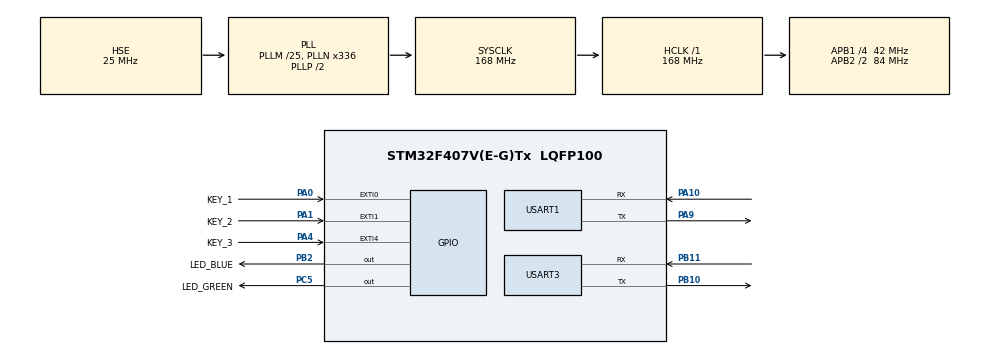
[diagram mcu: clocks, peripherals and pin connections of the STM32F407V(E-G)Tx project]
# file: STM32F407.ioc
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Dma.Request0=USART1_RX
Dma.Request1=USART1_TX
Dma.Request2=USART3_RX
Dma.Request3=USART3_TX
Dma.USART1_RX.0.Direction=DMA_PERIPH_TO_MEMORY
Dma.USART1_RX.0.FIFOMode=DMA_FIFOMODE_DISABLE
Dma.USART1_RX.0.Instance=DMA2_Stream2
Dma.USART1_RX.0.MemDataAlignment=DMA_MDATAALIGN_BYTE
Dma.USART1_RX.0.MemInc=DMA_MINC_ENABLE
Dma.USART1_RX.0.Mode=DMA_NORMAL
Dma.USART1_RX.0.PeriphDataAlignment=DMA_PDATAALIGN_BYTE
Dma.USART1_RX.0.PeriphInc=DMA_PINC_DISABLE
Dma.USART1_RX.0.Priority=DMA_PRIORITY_LOW
Dma.USART1_TX.1.Direction=DMA_MEMORY_TO_PERIPH
Dma.USART1_TX.1.FIFOMode=DMA_FIFOMODE_DISABLE
Dma.USART1_TX.1.Instance=DMA2_Stream7
Dma.USART1_TX.1.MemDataAlignment=DMA_MDATAALIGN_BYTE
Dma.USART1_TX.1.MemInc=DMA_MINC_ENABLE
Dma.USART1_TX.1.Mode=DMA_NORMAL
Dma.USART1_TX.1.PeriphDataAlignment=DMA_PDATAALIGN_BYTE
Dma.USART1_TX.1.PeriphInc=DMA_PINC_DISABLE
Dma.USART1_TX.1.Priority=DMA_PRIORITY_LOW
Dma.USART3_RX.2.Direction=DMA_PERIPH_TO_MEMORY
Dma.USART3_RX.2.FIFOMode=DMA_FIFOMODE_DISABLE
Dma.USART3_RX.2.Instance=DMA1_Stream1
Dma.USART3_RX.2.MemDataAlignment=DMA_MDATAALIGN_BYTE
Dma.USART3_RX.2.MemInc=DMA_MINC_ENABLE
Dma.USART3_RX.2.Mode=DMA_NORMAL
Dma.USART3_RX.2.PeriphDataAlignment=DMA_PDATAALIGN_BYTE
Dma.USART3_RX.2.PeriphInc=DMA_PINC_DISABLE
Dma.USART3_RX.2.Priority=DMA_PRIORITY_LOW
Dma.USART3_TX.3.Direction=DMA_MEMORY_TO_PERIPH
Dma.USART3_TX.3.FIFOMode=DMA_FIFOMODE_DISABLE
Dma.USART3_TX.3.Instance=DMA1_Stream3
Dma.USART3_TX.3.MemDataAlignment=DMA_MDATAALIGN_BYTE
Dma.USART3_TX.3.MemInc=DMA_MINC_ENABLE
Dma.USART3_TX.3.Mode=DMA_NORMAL
Dma.USART3_TX.3.PeriphDataAlignment=DMA_PDATAALIGN_BYTE
Dma.USART3_TX.3.PeriphInc=DMA_PINC_DISABLE
Dma.USART3_TX.3.Priority=DMA_PRIORITY_LOW
Mcu.Family=STM32F4
Mcu.Name=STM32F407V(E-G)Tx
Mcu.Package=LQFP100
NVIC.DMA1_Stream1_IRQn=true\:0\:0\:false\:false\:true\:false\:true\:true
NVIC.DMA1_Stream3_IRQn=true\:0\:0\:false\:false\:true\:false\:true\:true
NVIC.DMA2_Stream2_IRQn=true\:0\:0\:false\:false\:true\:false\:true\:true
NVIC.DMA2_Stream7_IRQn=true\:0\:0\:false\:false\:true\:false\:true\:true
NVIC.EXTI0_IRQn=true\:0\:0\:false\:false\:true\:true\:true\:true
NVIC.EXTI1_IRQn=true\:0\:0\:false\:false\:true\:true\:true\:true
NVIC.EXTI4_IRQn=true\:0\:0\:false\:false\:true\:true\:true\:true
NVIC.PriorityGroup=NVIC_PRIORITYGROUP_4
NVIC.USART1_IRQn=true\:0\:0\:false\:false\:true\:true\:true\:true
NVIC.USART3_IRQn=true\:0\:0\:false\:false\:true\:true\:true\:true
PA0-WKUP.GPIO_Label=KEY_1
PA0-WKUP.GPIO_ModeDefaultEXTI=GPIO_MODE_IT_RISING
PA0-WKUP.GPIO_PuPd=GPIO_PULLDOWN
PA0-WKUP.Signal=GPXTI0
PA1.GPIO_Label=KEY_2
PA1.GPIO_ModeDefaultEXTI=GPIO_MODE_IT_FALLING
PA1.GPIO_PuPd=GPIO_PULLUP
PA1.Signal=GPXTI1
PA10.Mode=Asynchronous
PA10.Signal=USART1_RX
PA13.Mode=Serial_Wire
PA13.Signal=SYS_JTMS-SWDIO
PA14.Mode=Serial_Wire
PA14.Signal=SYS_JTCK-SWCLK
PA4.GPIO_Label=KEY_3
PA4.GPIO_ModeDefaultEXTI=GPIO_MODE_IT_FALLING
PA4.GPIO_PuPd=GPIO_PULLUP
PA4.Signal=GPXTI4
PA9.Mode=Asynchronous
PA9.Signal=USART1_TX
PB10.Mode=Asynchronous
PB10.Signal=USART3_TX
PB11.GPIO_PuPd=GPIO_PULLUP
PB11.Mode=Asynchronous
PB11.Signal=USART3_RX
PB2.GPIO_Label=LED_BLUE
PB2.Signal=GPIO_Output
PC5.GPIO_Label=LED_GREEN
PC5.Signal=GPIO_Output
PH0-OSC_IN.Mode=HSE-External-Oscillator
PH0-OSC_IN.Signal=RCC_OSC_IN
PH1-OSC_OUT.Mode=HSE-External-Oscillator
PH1-OSC_OUT.Signal=RCC_OSC_OUT
ProjectManager.HeapSize=0x200
ProjectManager.StackSize=0x1000
ProjectManager.TargetToolchain=MDK-ARM V5.32
RCC.48MHZClocksFreq_Value=84000000
RCC.AHBFreq_Value=168000000
RCC.APB1CLKDivider=RCC_HCLK_DIV4
RCC.APB1Freq_Value=42000000
RCC.APB1TimFreq_Value=84000000
RCC.APB2CLKDivider=RCC_HCLK_DIV2
RCC.APB2Freq_Value=84000000
RCC.APB2TimFreq_Value=168000000
RCC.CortexFreq_Value=168000000
RCC.HCLKFreq_Value=168000000
RCC.HSE_VALUE=25000000
RCC.HSI_VALUE=16000000
RCC.LSE_VALUE=32768
RCC.PLLM=25
RCC.PLLN=336
RCC.PLLSourceVirtual=RCC_PLLSOURCE_HSE
RCC.SYSCLKFreq_VALUE=168000000
RCC.SYSCLKSource=RCC_SYSCLKSOURCE_PLLCLK
RCC.VCOOutputFreq_Value=336000000
USART1.VirtualMode=VM_ASYNC
USART3.VirtualMode=VM_ASYNC
board=custom

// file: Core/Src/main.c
/* USER CODE BEGIN Header */
/**==================================================================================================================
 ** 【文件名称】  main.c
 ** 【功能测试】  RS485 通信（UART3 + DMA + 空闲中断）
 **==================================================================================================================
 ** 【实验平台】  STM32F407 + KEIL5.31 + HAL库
 **
 ** 【实验操作】  1. 接线
 **                  RS485 电路位于开发板右上角，通过跳线帽直接连接 UART3 (也可以使用杜邦，选择其它串口)
 **                  TX —— PB10
 **                  RX —— PB11
 **
 **               2. 代码
 **                  本示例，其实是直接复制了串口3的实验代码，稍作修改注释而已
 **                  通过CubeMX，配置UART3, 115200-None-8-1, DMA发送，DMA+空闲中断接收
 **                  已写好了收发机制，发送时，只需调用HAL的函数; 接收时，只需在while中判断xUART3.ReceiveNum>0,
 **                  详细的收发，可参考main函数内示范。
 **                  特别地，如果想修改波特率，需回到CubeMX中修改UART3的协议配置，而不建议在代码中修改;
 **
 **               3. 测试
 **                  串口助手发送数据 → STM32 接收 → 转发至 RS485
 **                  RS485 收到数据 → 回传至串口助手显示
 **
 ** 【核心说明】  1. 基于 UART3 实现 RS485 全双工通信
 **               2. 采用 DMA + 空闲中断，接收高效、不丢包、不占用 CPU
 **               3. 支持 ASCII / 十六进制数据收发
 **               4. 提供三种发送方式：阻塞 / 中断 / DMA（推荐 DMA）
 **               5. 已实现 printf 打印调试，无需勾选 MicroLIB
 **
 ** 【划 重 点】  1. 波特率修改建议在 CubeMX 中配置
 **               2. 连续发送需判断串口状态，避免覆盖
 **               3. 接收完成后自动存入结构体，主循环直接判断即可
 **
 ** 【更新记录】  2026-03-27  规范注释、优化排版、统一格式
 **
 ** 【备注说明】  版权归魔女科技所有，请勿商用，谢谢！
 **               https://demoboard.taobao.com
 **==================================================================================================================*/
/* USER CODE END Header */
#include "main.h"
#include "dma.h"
#include "usart.h"
#include "gpio.h"

/* USER CODE BEGIN Includes */
/* 所有用户代码，必须写在配对的BEGIN与END注释行之间，否则重新生成时会被删除 */
#include <stdio.h>              // 用于sprintf函数
#include <string.h>

/* USER CODE END Includes */

void SystemClock_Config(void);

/* USER CODE BEGIN 0 */
/* 所有用户代码，必须写在配对的BEGIN与END注释行之间，否则重新生成时会被删除 */

// 定义串口的结构体; 为了方便使用，一次过全定义了
xUATR_TypeDef xUART1 = {0};          // 定义结构体，用于UART1。也可以不用结构体，用单独的变量
xUATR_TypeDef xUART2 = {0};          // 定义结构体，用于UART2。也可以不用结构体，用单独的变量
xUATR_TypeDef xUART3 = {0};          // 定义结构体，用于UART3。也可以不用结构体，用单独的变量
xUATR_TypeDef xUART4 = {0};          // 定义结构体，用于UART4。也可以不用结构体，用单独的变量
xUATR_TypeDef xUART5 = {0};          // 定义结构体，用于UART5。也可以不用结构体，用单独的变量
xUATR_TypeDef xUART6 = {0};          // 定义结构体，用于UART6。也可以不用结构体，用单独的变量

/* USER CODE END 0 */

int main(void)
{
    /* USER CODE BEGIN 1 */

    /* 说明：
     * 1. 不要删除CubeMX生成的注释行（形如 USER CODE BEGIN/END），这些注释用于代码重新生成时的定位
     * 2. 所有用户自定义代码必须写在对应的BEGIN与END注释行之间，否则重新生成时会被覆盖
     * 3. 主要初始化函数说明：
     *    - HAL_Init()            初始化HAL库，配置中断优先级、系统时基等
     *    - SystemClock_Config()  配置系统时钟
     *    - MX_GPIO_Init()        初始化GPIO引脚（仅包含推挽输出、中断触发等配置）
     *    - 外设功能引脚（如UART、SPI等）的初始化在各自的功能文件中
     */

    /* USER CODE END 1 */

    /* MCU Configuration--------------------------------------------------------*/

    /* Reset of all peripherals, Initializes the Flash interface and the Systick. */
    HAL_Init();

    /* Configure the system clock */
    SystemClock_Config();

    /* Initialize all configured peripherals */
    MX_GPIO_Init();
    MX_DMA_Init();
    MX_USART1_UART_Init();
    MX_USART3_UART_Init();
    /* USER CODE BEGIN 2 */
    /* 所有用户代码，必须写在配对的BEGIN与END注释行之间，否则重新生成时会被删除 */

    // 示范使用printf输出调试信息
    printf("\r\r\r===========  STM32F407VE 外设初始报告 ===========\r");                // 使用printf发送调试信息。它有灵活的格式化，很适合处理字符串; 注意：printf需要重定向fputc函数才能使用，否则程序会卡死; 本示例已重写fputc, 在main.c的底部附近
    printf("系统运行时钟：%d MHz\r", SystemCoreClock / 1000000);                        // 输出系统运行时钟频率，以检查系统时钟是否配置正常。注意：F407系列常用系统时钟=168MHz。

    // LED控制-红色LED使用了PC5，置高电平-灭，置低电平-亮
    HAL_GPIO_WritePin(GPIOC, GPIO_PIN_5, GPIO_PIN_SET);                                 // 引脚置高电平，红亮灭

    // 开启USART1的接收：DMA+空闲中断
    HAL_UARTEx_ReceiveToIdle_DMA(&huart1, xUART1.BuffTemp, sizeof(xUART1.BuffTemp));    // 开启DMA+空闲中断接收; 配合回调函数使用(在main.c的最下方：HAL_UARTEx_RxEventCallback());
    // 开启USART3的接收：DMA+空闲中断
    HAL_UARTEx_ReceiveToIdle_DMA(&huart3, xUART3.BuffTemp, sizeof(xUART3.BuffTemp));    // 开启DMA+空闲中断接收; 配合回调函数使用(在main.c的最下方：HAL_UARTEx_RxEventCallback());

    /** USART的3个发送函数，以USART1作示范，其它串口，是一样的方式 **/
    static char     strTem[100] = "串口发送函数测试。\r";                               // 定义一个数组，也可以是其它的数据，如结构体等
    // 发送方式1：阻塞发送，不建议使用。
    HAL_UART_Transmit(&huart1, (uint8_t *)strTem, strlen(strTem), 0xFFFF);              // 发送方式1, 不推荐使用; 阻塞式发送，当调用后，程序会一直死等，不干其它事了(中断除外)，直到发送完毕
    // 发送方式2: 利用中断发送，推荐使用
    while ((&huart1)->gState != HAL_UART_STATE_READY);                                  // 等待上条发送结束; 也可以用HAL_Delay延时法，但就要计算发送用时; 两种方法都是死等法，程序暂时卡死不会往下运行; 如果两次发送间隔时间大，如，大于100ms, 就不用判断语句了。
    HAL_UART_Transmit_IT(&huart1, (uint8_t *)strTem, strlen(strTem));                   // 发送方式2, 推荐使用; 利用中断发送，非阻塞式，大大减少资源占用; 注意：当上次的调用还没完成发送，下次的调用会直接返回(放弃)，所以，要想连接发送，两行调用间，要么判断串口结构体gState的值，要么调用延时HAL_Delay(ms), ms值要大于前一帧发送用时, 用时计算：1/(波特率*11*前一帧字节数)
    // 发送方式4: 利用DMA发送，最推荐使用
    while ((&huart1)->gState != HAL_UART_STATE_READY);                                  // 等待上条发送结束; 也可以用HAL_Delay延时法，但就要计算发送用时; 两种方法都是死等法，程序暂时卡死不会往下运行; 如果两次发送间隔时间大，如，大于100ms, 就不用判断语句了。
    HAL_UART_Transmit_DMA(&huart1, (uint8_t *)strTem, strlen(strTem));                  // 发送方式3，推荐使用; 利用DMA发送，非阻塞式，最大限度减少资源占用; 注意：当上次的调用还没完成发送，下次的调用会直接返回(放弃); 所以，要想连接发送，两行调用间，要么判断串口结构体gState的值，要么调用延时HAL_Delay(ms), ms值要大于前一帧发送用时，用时计算：1/(波特率*11*前一帧字节数)

    /* USER CODE END 2 */

    /* Infinite loop */
    while (1)
    {

        /* USER CODE BEGIN 3 */
        /* 所有用户代码，必须写在配对的BEGIN与END注释行之间，否则重新生成时会被删除 */

        HAL_Delay(1 - 1);                                                               // 延时函数，参数：ms; 注意：CubeMX生成的HAL_Delay(), 函数内部为避免无效操作，会对传入参数+1，因此，如果只需要几ms延时建议传入参数时-1，如果需要大几百ms的非精准延时，那参数不-1也影响不大

        /** USART1 的接收示范(通过串口助手) **/
        if (xUART1.ReceiveNum)
        {
            printf("\r>>>>> 将向串口3发送下面一帧数据 \r");                             // 提示发送, 即把串口助手发过来的数据(UART1接收到的), 发送到其它串口
            printf("字节数：%d \r", xUART1.ReceiveNum);                                 // 显示字节数
            printf("ASCII : %s\r", (char *)xUART1.ReceiveData);                         // 显示数据，以ASCII方式显示，即以字符串的方式显示
            printf("16进制: ");                                                         // 显示数据，以16进制方式，显示每一个字节的值
            for (uint16_t i = 0; i < xUART1.ReceiveNum; i++)                            // 逐个字节输出
                printf("0x%X ", xUART1.ReceiveData[i]);                                 // 以16进制显示
            printf("\r\r");                                                             // 显示换行

            while ((&huart3)->gState != HAL_UART_STATE_READY);                          // 等待上条发送结束; 也可以用HAL_Delay延时法，但就要计算发送用时; 两种方法都是死等法，程序暂时卡死不会往下运行; 如果两次发送间隔时间大，如，大于100ms, 就不用判断语句了。
            HAL_UART_Transmit_DMA(&huart3, xUART1.ReceiveData, xUART1.ReceiveNum);      // 把串口1接收到的数据(串口助手发过来的), 通过串口3发送到RS485总线

            xUART1.ReceiveNum = 0;                                                      // 清0接收标记
        }

        /** RS485通过 UART3 的接收示范 **/
        if (xUART3.ReceiveNum)
        {
            printf("\r<<<<< RS485(UART3) 接收到一帧数据 \r");                           // 提示
            printf("字节数：%d \r", xUART3.ReceiveNum);                                 // 显示字节数
            printf("ASCII : %s\r", (char *)xUART3.ReceiveData);                         // 显示数据，以ASCII方式显示，即以字符串的方式显示
            printf("16进制: ");                                                         // 显示数据，以16进制方式，显示每一个字节的值
            for (uint16_t i = 0; i < xUART3.ReceiveNum; i++)                            // 逐个字节输出
                printf("0x%X ", xUART3.ReceiveData[i]);                                 // 以16进制显示
            printf("\r\r");                                                             // 显示换行

            xUART3.ReceiveNum = 0;                                                      // 清0接收标记

            if (strstr((char *)xUART3.ReceiveData, "RS485_Test"))                       // 判断是否测试工具发过来的数据
            {
                while ((&huart3)->gState != HAL_UART_STATE_READY);                      // 等待上条发送结束; 也可以用HAL_Delay延时法，但就要计算发送用时; 两种方法都是死等法，程序暂时卡死不会往下运行; 如果两次发送间隔时间大，如，大于100ms, 就不用判断语句了。
                HAL_UART_Transmit_DMA(&huart3, (uint8_t *)"RS485_OK", 9);               // 发回一次报文，方便对方测试;
            }
        }

        /** 每500ms规律地闪烁绿色LED, 便于观察程序是否运行、卡死 **/
        static uint32_t lastTime_500ms = 0;                                             // 定义静态变量，用于记录上次执行这个任务的时间点(单位：毫秒)
        if (HAL_GetTick() - lastTime_500ms >= 500)                                      // 检查当前时间距离上次执行是否已经过了500ms; HAL_GetTick()是获取启动后经过的毫秒数;
        {
            HAL_GPIO_TogglePin(GPIOC, GPIO_PIN_5);                                      // 控制绿色LED引脚电平翻转(PC5); 规律地闪烁LED，方便外部观察系统是否正常运行
            lastTime_500ms =   HAL_GetTick();                                           // 记录当前时间，作为新的基准点，为下一次判断做准备
        }

    }
    /* USER CODE END 3 */
}

void SystemClock_Config(void)
{
    RCC_OscInitTypeDef RCC_OscInitStruct = {0};
    RCC_ClkInitTypeDef RCC_ClkInitStruct = {0};

    /** Configure the main internal regulator output voltage
    */
    __HAL_RCC_PWR_CLK_ENABLE();
    __HAL_PWR_VOLTAGESCALING_CONFIG(PWR_REGULATOR_VOLTAGE_SCALE1);

    /** Initializes the RCC Oscillators according to the specified parameters
    * in the RCC_OscInitTypeDef structure.
    */
    RCC_OscInitStruct.OscillatorType = RCC_OSCILLATORTYPE_HSE;
    RCC_OscInitStruct.HSEState = RCC_HSE_ON;
    RCC_OscInitStruct.PLL.PLLState = RCC_PLL_ON;
    RCC_OscInitStruct.PLL.PLLSource = RCC_PLLSOURCE_HSE;
    RCC_OscInitStruct.PLL.PLLM = 25;
    RCC_OscInitStruct.PLL.PLLN = 336;
    RCC_OscInitStruct.PLL.PLLP = RCC_PLLP_DIV2;
    RCC_OscInitStruct.PLL.PLLQ = 4;
    if (HAL_RCC_OscConfig(&RCC_OscInitStruct) != HAL_OK)
    {
        Error_Handler();
    }

    /** Initializes the CPU, AHB and APB buses clocks
    */
    RCC_ClkInitStruct.ClockType = RCC_CLOCKTYPE_HCLK | RCC_CLOCKTYPE_SYSCLK
                                  | RCC_CLOCKTYPE_PCLK1 | RCC_CLOCKTYPE_PCLK2;
    RCC_ClkInitStruct.SYSCLKSource = RCC_SYSCLKSOURCE_PLLCLK;
    RCC_ClkInitStruct.AHBCLKDivider = RCC_SYSCLK_DIV1;
    RCC_ClkInitStruct.APB1CLKDivider = RCC_HCLK_DIV4;
    RCC_ClkInitStruct.APB2CLKDivider = RCC_HCLK_DIV2;

    if (HAL_RCC_ClockConfig(&RCC_ClkInitStruct, FLASH_LATENCY_5) != HAL_OK)
    {
        Error_Handler();
    }
}

/* USER CODE BEGIN 4 */
/* 所有用户代码，必须写在配对的BEGIN与END注释行之间，否则重新生成时会被删除 */

/******************************************************************************
 * 函  数： HAL_GPIO_EXTI_Callback
 * 功  能： EXTI中断回调函数
 * 参  数： uint16_t  GPIO_Pin    引脚编号，参数范围：GPIO_Pin_0 ~ GPIO_Pin_15
 * 返回值： 无
 * 备  注： CubeMX生成的代码在思维和风格上，与使用标准库编写时有很大的区别：
 *          1：这个是回调函数，不是中断服务函数。完整的调用：EXTIx_IRQHandler() > HAL_GPIO_EXTI_IRQHandler(GPIO_PIN_x) > HAL_GPIO_EXTI_Callback(GPIO_PIN_x)
 *          2：必须使用这个函数名称，因为它在CubeMX生成时，已被写好了各种函数调用、函数弱定义(在stm32xx_hal_gpio.c的底部); 不建议在原弱定义中增添代码，而是重写本函数
 *          3：中断条件触发后，本函数被自动调用，无需进行人工调用; 也无需进行中断标志的清理，因为HAL_GPIO_EXTI_IRQHandler()函数中已有操作;
 *          4：生成的所有EXTI中断服务函数，都统一调用这个函数，以引脚编号作参数
 *          5：判断参数传进来的引脚编号，即可知道是哪个外部中断线产生的中断信号
******************************************************************************/
void HAL_GPIO_EXTI_Callback(uint16_t GPIO_Pin)
{
    if (GPIO_Pin == KEY_1_Pin)                                  // 按键1 产生的中断信号：KEY_1、PA0、闲时下拉、按下时高电平、上升沿触发
    {
        HAL_GPIO_TogglePin(GPIOB, GPIO_PIN_2);                  // 反转蓝色LED灯状态
        printf("KEY_1 按下\r");                                 // 通过串口助手输出提示
    }

    if (GPIO_Pin == KEY_2_Pin)                                  // 按键2 产生的中断信号：KEY_2、PA1、闲时上拉、按下时低电平、下降沿触发
    {
        HAL_GPIO_TogglePin(GPIOB, GPIO_PIN_2);                  // 反转蓝色LED灯状态
        printf("KEY_2 按下\r");                                 // 通过串口助手输出提示
    }

    if (GPIO_Pin == KEY_3_Pin)                                  // 按键3 产生的中断信号：KEY_3、PA4、闲时上拉、按下低高电平、下降沿触发
    {
        HAL_GPIO_TogglePin(GPIOB, GPIO_PIN_2);                  // 反转蓝色LED灯状态
        printf("KEY_3 按下\r");                                 // 通过串口助手输出提示
    }
}

/******************************************************************************
 * 功  能： printf函数支持代码
 * 说  明： 加入以下代码, 使用printf函数时, 不再需要选择use MicroLIB
 *          复制本函数到你的工程，即可使用
 * 参  数：
 * 返回值：
 * 备  注： 最后修改_2020年07月15日
 ******************************************************************************/
#include <stdio.h>
#pragma import(__use_no_semihosting)

struct __FILE
{
    int handle;
};                                                         // 标准库需要的支持函数

FILE __stdout;                                             // FILE 在stdio.h文件
void _sys_exit(int x)
{
    x = x;                                                 // 定义_sys_exit()以避免使用半主机模式
}

int fputc(int ch, FILE *f)                                 // 重写fputc函数，使printf的输出由UART1实现,  这里使用USART1
{
    // 注意，不能使用HAL_UART_Transmit_IT(), 机制上会冲突; 因为调用中断发送函数后，如果上次发送还在进行，就会直接返回！它不会继续等待，也不会数据填入队列排队发送
    HAL_UART_Transmit(&huart1, (uint8_t *)&ch, 1, 0x02);   // 使用HAL_UART_Transmit，相等于USART1->DR = ch, 函数内部加了简单的超时判断(ms)，防止卡死
    return ch;
}

/******************************************************************************
 * 函  数： HAL_UARTEx_RxEventCallback
 * 功  能： DMA+空闲中断回调函数
 * 参  数： UART_HandleTypeDef  *huart   // 触发的串口
 *          uint16_t             Size    // 接收字节
 * 返回值： 无
 * 备  注： 1：这个是回调函数，不是中断服务函数。技巧：使用CubeMX生成的工程中，中断服务函数已被CubeMX安排妥当，我们只管重写回调函数
 *          2：触发条件：当DMA接收到指定字节数时，或产生空闲中断时，硬件就会自动调用本回调函数，无需进行人工调用;
 *          2：必须使用这个函数名称，因为它在CubeMX生成时，已被写好了各种函数调用、函数弱定义(在stm32xx_hal_uart.c的底部); 不要在原弱定义中增添代码，而是重写本函数
 *          3：无需进行中断标志的清理，它在被调用前，已有清中断的操作;
 *          4：生成的所有DMA+空闲中断服务函数，都会统一调用这个函数，以引脚编号作参数
 *          5：判断参数传进来的引脚编号，即可知道是哪个串口接收收了多少字节
******************************************************************************/
void HAL_UARTEx_RxEventCallback(UART_HandleTypeDef *huart, uint16_t Size)
{
#if 1
    // 串口UART1的DMA+空闲中断回调函数
    if (huart == &huart1)                                                                    // 判断串口
    {
        __HAL_UNLOCK(huart);                                                                 // 解锁串口状态
        xUART1.ReceiveNum  = Size;                                                           // 接收完成标志
        memset(xUART1.ReceiveData, 0, sizeof(xUART1.ReceiveData));                           // 清0前一帧的接收数据
        memcpy(xUART1.ReceiveData, xUART1.BuffTemp, Size);                                   // 把新数据，从临时缓存中，复制到xUART1.ReceivedData[], 以备使用
        HAL_UARTEx_ReceiveToIdle_DMA(&huart1, xUART1.BuffTemp, sizeof(xUART1.BuffTemp));     // 再次开启DMA空闲中断; 每当接收完指定长度，或者产生空闲中断时，就会来到这个
    }
#endif

#if 0
    // 串口UART2的DMA+空闲中断回调函数
    if (huart == &huart2)                                                                    // 判断串口
    {
        __HAL_UNLOCK(huart);                                                                 // 解锁串口状态
        xUART2.ReceiveNum  = Size;                                                           // 接收完成标志
        memset(xUART2.ReceiveData, 0, sizeof(xUART2.ReceiveData));                           // 清0前一帧的接收数据
        memcpy(xUART2.ReceiveData, xUART2.BuffTemp, Size);                                   // 把新数据，从临时缓存中，复制到xUART2.ReceivedData[], 以备使用
        HAL_UARTEx_ReceiveToIdle_DMA(&huart2, xUART2.BuffTemp, sizeof(xUART2.BuffTemp));     // 再次开启DMA空闲中断; 每当接收完指定长度，或者产生空闲中断时，就会来到这个
    }
#endif

#if 1
    // 串口UART3的DMA+空闲中断回调函数
    if (huart == &huart3)                                                                    // 判断串口
    {
        __HAL_UNLOCK(huart);                                                                 // 解锁串口状态
        xUART3.ReceiveNum  = Size;                                                           // 接收完成标志
        memset(xUART3.ReceiveData, 0, sizeof(xUART3.ReceiveData));                           // 清0前一帧的接收数据
        memcpy(xUART3.ReceiveData, xUART3.BuffTemp, Size);                                   // 把新数据，从临时缓存中，复制到xUART3.ReceivedData[], 以备使用
        HAL_UARTEx_ReceiveToIdle_DMA(&huart3, xUART3.BuffTemp, sizeof(xUART3.BuffTemp));     // 再次开启DMA空闲中断; 每当接收完指定长度，或者产生空闲中断时，就会来到这个
    }
#endif

#if 0
    // 串口UART4的DMA+空闲中断回调函数
    if (huart == &huart4)                                                                    // 判断串口
    {
        __HAL_UNLOCK(huart);                                                                 // 解锁串口状态
        xUART4.ReceiveNum  = Size;                                                           // 接收完成标志
        memset(xUART4.ReceiveData, 0, sizeof(xUART4.ReceiveData));                           // 清0前一帧的接收数据
        memcpy(xUART4.ReceiveData, xUART4.BuffTemp, Size);                                   // 把新数据，从临时缓存中，复制到xUART4.ReceivedData[], 以备使用
        HAL_UARTEx_ReceiveToIdle_DMA(&huart4, xUART4.BuffTemp, sizeof(xUART4.BuffTemp));     // 再次开启DMA空闲中断; 每当接收完指定长度，或者产生空闲中断时，就会来到这个
    }
#endif

#if 0
    // 串口UART5的DMA+空闲中断回调函数
    if (huart == &huart5)                                                                    // 判断串口
    {
        __HAL_UNLOCK(huart);                                                                 // 解锁串口状态
        xUART5.ReceiveNum  = Size;                                                           // 接收完成标志
        memset(xUART5.ReceiveData, 0, sizeof(xUART5.ReceiveData));                           // 清0前一帧的接收数据
        memcpy(xUART5.ReceiveData, xUART5.BuffTemp, Size);                                   // 把新数据，从临时缓存中，复制到xUART5.ReceivedData[], 以备使用
        HAL_UARTEx_ReceiveToIdle_DMA(&huart5, xUART5.BuffTemp, sizeof(xUART5.BuffTemp));     // 再次开启DMA空闲中断; 每当接收完指定长度，或者产生空闲中断时，就会来到这个
    }
#endif

#if 0
    // 串口UART6的DMA+空闲中断回调函数
    if (huart == &huart6)                                                                    // 判断串口
    {
        __HAL_UNLOCK(huart);                                                                 // 解锁串口状态
        xUART6.ReceiveNum  = Size;                                                           // 接收完成标志
        memset(xUART6.ReceiveData, 0, sizeof(xUART6.ReceiveData));                           // 清0前一帧的接收数据
        memcpy(xUART6.ReceiveData, xUART6.BuffTemp, Size);                                   // 把新数据，从临时缓存中，复制到xUART6.ReceivedData[], 以备使用
        HAL_UARTEx_ReceiveToIdle_DMA(&huart6, xUART6.BuffTemp, sizeof(xUART6.BuffTemp));     // 再次开启DMA空闲中断; 每当接收完指定长度，或者产生空闲中断时，就会来到这个
    }
#endif
}

/* 所有用户代码，必须写在配对的BEGIN与END注释行之间，否则重新生成时会被删除 */
/* USER CODE END 4 */

void Error_Handler(void)
{
    __disable_irq();
    while (1)
    {
    }
}
